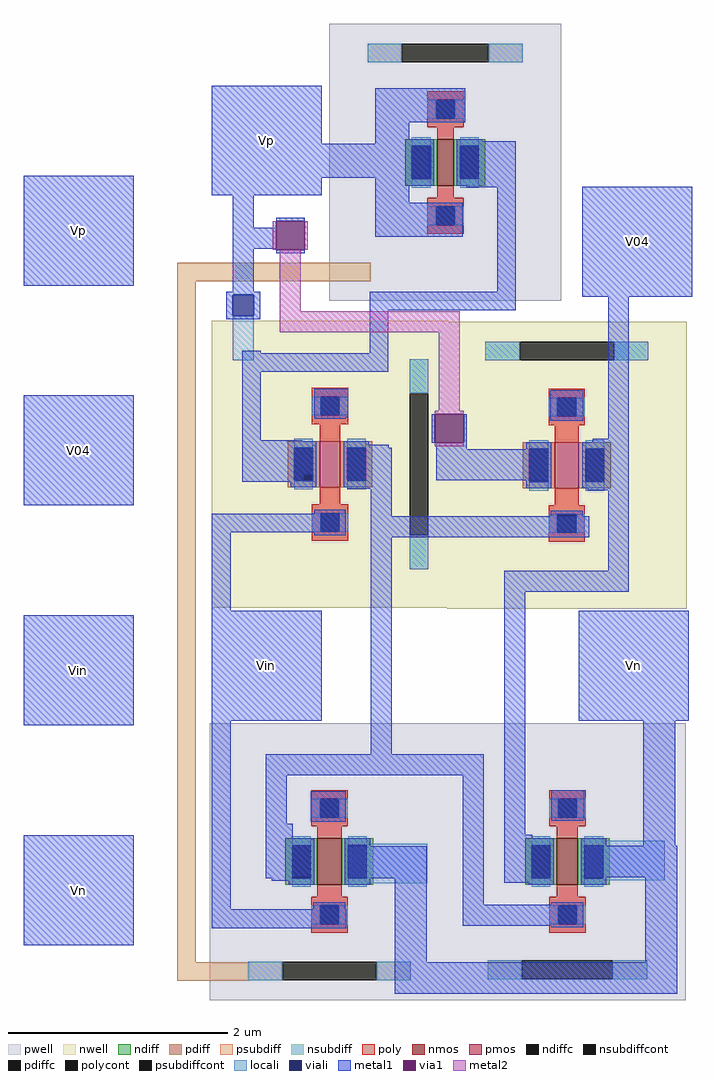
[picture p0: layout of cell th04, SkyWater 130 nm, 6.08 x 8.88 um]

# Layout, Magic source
magic
tech sky130A
magscale 1 2
<< pwell >>
rect 440 -1078 478 -938
rect 522 -976 586 -920
rect 540 -1164 574 -1130
<< psubdiff >>
rect 279 8 631 42
rect 279 -1231 313 8
rect 279 -1265 411 -1231
<< locali >>
rect 380 -136 418 -55
rect 592 -1088 734 -1016
rect 1024 -1082 1166 -1010
<< viali >>
rect 380 -55 418 -17
<< metal1 >>
rect 342 258 542 364
rect 639 297 803 359
rect 639 258 701 297
rect 0 0 200 200
rect 342 196 738 258
rect 797 229 895 263
rect 797 225 831 229
rect 833 225 895 229
rect 342 164 542 196
rect 380 105 418 164
rect 639 151 701 196
rect 797 191 895 225
rect 805 179 895 191
rect 459 117 511 123
rect 380 67 459 105
rect 380 -11 418 67
rect 639 89 799 151
rect 459 59 511 65
rect 861 -11 895 179
rect 368 -17 430 -11
rect 368 -55 380 -17
rect 418 -55 430 -17
rect 368 -61 430 -55
rect 629 -45 895 -11
rect 1016 -20 1216 180
rect 397 -123 431 -119
rect 629 -123 663 -45
rect 397 -157 663 -123
rect 0 -400 200 -200
rect 397 -281 431 -157
rect 528 -240 590 -188
rect 397 -291 507 -281
rect 742 -286 748 -234
rect 800 -286 806 -234
rect 958 -246 1018 -190
rect 1063 -279 1101 -20
rect 397 -343 525 -291
rect 586 -295 664 -290
rect 397 -357 509 -343
rect 585 -361 669 -295
rect 750 -298 806 -286
rect 1035 -289 1101 -279
rect 1025 -290 1101 -289
rect 750 -354 954 -298
rect 586 -364 669 -361
rect 588 -370 669 -364
rect 1024 -368 1101 -290
rect 342 -449 581 -415
rect 631 -420 669 -370
rect 1026 -372 1101 -368
rect 342 -592 376 -449
rect 631 -458 1029 -420
rect 0 -800 200 -600
rect 342 -792 542 -592
rect 0 -1200 200 -1000
rect 342 -1135 376 -792
rect 631 -853 669 -458
rect 1063 -519 1101 -372
rect 874 -557 1101 -519
rect 440 -891 837 -853
rect 440 -979 478 -891
rect 522 -976 586 -920
rect 440 -1009 489 -979
rect 440 -1075 525 -1009
rect 440 -1078 489 -1075
rect 592 -1078 733 -1020
rect 451 -1083 489 -1078
rect 540 -1135 574 -1130
rect 342 -1169 587 -1135
rect 675 -1231 733 -1078
rect 799 -1127 837 -891
rect 874 -999 912 -557
rect 1010 -792 1210 -592
rect 960 -972 1020 -918
rect 874 -1019 925 -999
rect 1127 -1019 1185 -792
rect 874 -1087 959 -1019
rect 1021 -1077 1189 -1019
rect 799 -1165 1015 -1127
rect 1131 -1231 1189 -1077
rect 675 -1289 1189 -1231
<< via1 >>
rect 459 65 511 117
rect 748 -286 800 -234
<< metal2 >>
rect 453 65 459 117
rect 511 65 517 117
rect 466 -47 504 65
rect 466 -85 793 -47
rect 755 -228 793 -85
rect 748 -234 800 -228
rect 748 -292 800 -286
use sky130_fd_pr__nfet_01v8_42G4RD  XM0
transform 1 0 556 0 1 -1048
box -218 -252 218 252
use sky130_fd_pr__pfet_01v8_DDPLQ8  XM1
transform 1 0 557 0 1 -325
box -215 -261 215 261
use sky130_fd_pr__nfet_01v8_VWP3K3  XM2
transform 1 0 767 0 1 224
box -211 -252 211 252
use sky130_fd_pr__pfet_01v8_LZD9A4  XM3
transform 1 0 988 0 1 -327
box -218 -261 218 261
use sky130_fd_pr__nfet_01v8_VRD6K3  XM4
transform 1 0 989 0 1 -1048
box -215 -252 215 252
<< labels >>
flabel metal1 1016 -20 1216 180 0 FreeSans 256 0 0 0 V04
port 1 nsew
flabel metal1 342 -792 542 -592 0 FreeSans 256 0 0 0 Vin
port 2 nsew
flabel metal1 1010 -792 1210 -592 0 FreeSans 256 0 0 0 Vn
port 3 nsew
flabel metal1 342 164 542 364 0 FreeSans 256 0 0 0 Vp
port 0 nsew
flabel metal1 0 0 200 200 0 FreeSans 256 0 0 0 Vp
flabel metal1 0 -400 200 -200 0 FreeSans 256 0 0 0 V04
flabel metal1 0 -800 200 -600 0 FreeSans 256 0 0 0 Vin
flabel metal1 0 -1200 200 -1000 0 FreeSans 256 0 0 0 Vn
<< end >>

# cell sky130_fd_pr__nfet_01v8_42G4RD: kit device sky130_fd_pr__nfet_01v8, w 0.42 l 0.22 m 1 nf 1 diffcov 100 polycov 100 guard 1 glc 1 grc 1 gtc 1 gbc 1 tbcov 100 rlcov 100 topc 1 botc 1 poverlap 0 doverlap 1 lmin 0.15 wmin 0.42 compatible {sky130_fd_pr__nfet_01v8 sky130_fd_pr__nfet_01v8_lvt sky130_fd_bs_flash__special_sonosfet_star sky130_fd_pr__nfet_g5v0d10v5 sky130_fd_pr__nfet_05v0_nvt sky130_fd_pr__nfet_03v3_nvt} full_metal 1 viasrc 100 viadrn 100 viagate 100 viagb 0 viagr 0 viagl 0 viagt 0

# cell sky130_fd_pr__pfet_01v8_DDPLQ8: kit device sky130_fd_pr__pfet_01v8, w 0.42 l 0.193 m 1 nf 1 diffcov 100 polycov 100 guard 1 glc 1 grc 1 gtc 1 gbc 1 tbcov 100 rlcov 100 topc 1 botc 1 poverlap 0 doverlap 1 lmin 0.15 wmin 0.42 compatible {sky130_fd_pr__pfet_01v8 sky130_fd_pr__pfet_01v8_lvt sky130_fd_pr__pfet_01v8_hvt sky130_fd_pr__pfet_g5v0d10v5} full_metal 1 viasrc 100 viadrn 100 viagate 100 viagb 0 viagr 0 viagl 0 viagt 0

# cell sky130_fd_pr__nfet_01v8_VWP3K3: kit device sky130_fd_pr__nfet_01v8, w 0.42 l 0.151 m 1 nf 1 diffcov 100 polycov 100 guard 1 glc 1 grc 1 gtc 1 gbc 1 tbcov 100 rlcov 100 topc 1 botc 1 poverlap 0 doverlap 1 lmin 0.15 wmin 0.42 compatible {sky130_fd_pr__nfet_01v8 sky130_fd_pr__nfet_01v8_lvt sky130_fd_bs_flash__special_sonosfet_star sky130_fd_pr__nfet_g5v0d10v5 sky130_fd_pr__nfet_05v0_nvt sky130_fd_pr__nfet_03v3_nvt} full_metal 1 viasrc 100 viadrn 100 viagate 100 viagb 0 viagr 0 viagl 0 viagt 0

# cell sky130_fd_pr__pfet_01v8_LZD9A4: kit device sky130_fd_pr__pfet_01v8, w 0.42 l 0.22 m 1 nf 1 diffcov 100 polycov 100 guard 1 glc 1 grc 1 gtc 1 gbc 1 tbcov 100 rlcov 100 topc 1 botc 1 poverlap 0 doverlap 1 lmin 0.15 wmin 0.42 compatible {sky130_fd_pr__pfet_01v8 sky130_fd_pr__pfet_01v8_lvt sky130_fd_pr__pfet_01v8_hvt sky130_fd_pr__pfet_g5v0d10v5} full_metal 1 viasrc 100 viadrn 100 viagate 100 viagb 0 viagr 0 viagl 0 viagt 0

# cell sky130_fd_pr__nfet_01v8_VRD6K3: kit device sky130_fd_pr__nfet_01v8, w 0.42 l 0.193 m 1 nf 1 diffcov 100 polycov 100 guard 1 glc 1 grc 1 gtc 1 gbc 1 tbcov 100 rlcov 100 topc 1 botc 1 poverlap 0 doverlap 1 lmin 0.15 wmin 0.42 compatible {sky130_fd_pr__nfet_01v8 sky130_fd_pr__nfet_01v8_lvt sky130_fd_bs_flash__special_sonosfet_star sky130_fd_pr__nfet_g5v0d10v5 sky130_fd_pr__nfet_05v0_nvt sky130_fd_pr__nfet_03v3_nvt} full_metal 1 viasrc 100 viadrn 100 viagate 100 viagb 0 viagr 0 viagl 0 viagt 0
